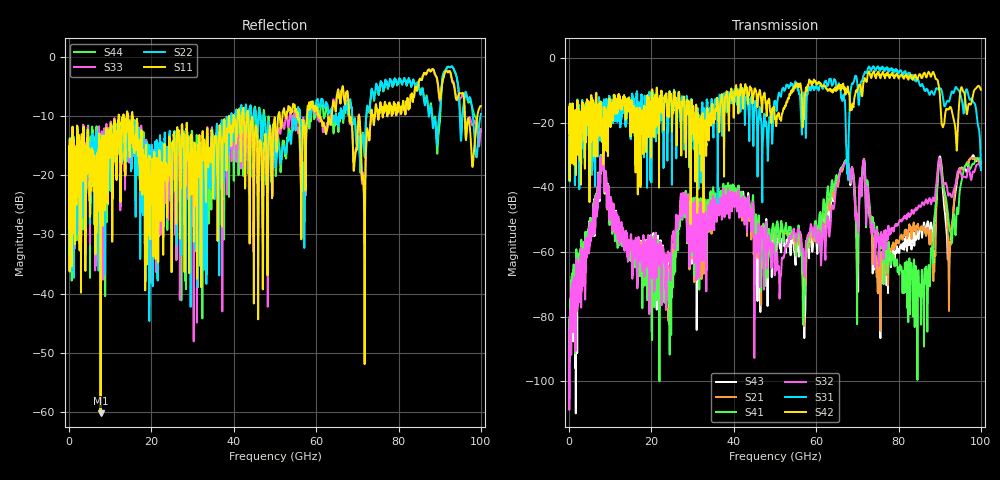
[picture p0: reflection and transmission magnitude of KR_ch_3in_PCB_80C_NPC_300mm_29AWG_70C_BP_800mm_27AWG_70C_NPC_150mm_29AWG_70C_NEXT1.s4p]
# Hz S RI R 45
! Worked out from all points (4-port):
!   4000 points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, 25 MHz to 100 GHz, reference 45 ohm
!   strongest paths, dB at 25 MHz, 25.02 GHz, 50.02 GHz, 75.03 GHz, 100 GHz:
!     S42: -20.7, -20.7, -18.8, -4.2, -9.7
!     S31: -20.6, -19.7, -13.5, -2.5, -34.6
!     S32: -90.4, -55.2, -64.6, -55.6, -34.2
!     S41: -89.2, -63.7, -60.2, -54.7, -31.9
!     S21: -90.2, -60.3, -57.9, -71.2, -32.8
!     S43: -91.7, -58.7, -58.7, -70.3, -32.2
!   lowest |S11| = -60.2 dB at 7.65 GHz (marker M1), VSWR 1.00, Z = 45.1 - j0.00565 ohm
!   |S11| at or under -10 dB: start of sweep to 12.07 GHz; 15.37 GHz to 38.82 GHz (23.45 GHz wide, 86.6 % of centre); 43.49 GHz to 50.79 GHz (7.306 GHz wide, 15.5 % of centre)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
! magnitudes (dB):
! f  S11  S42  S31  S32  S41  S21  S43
! 25 MHz  -16.4  -20.7  -20.6  -90.4  -89.2  -90.2  -91.7
! 7.65 GHz  -60.2  -16.3  -20.7  -35.4  -34.7  -34.4  -35.7
! 24.3 GHz  -13.9  -12.7  -11.5  -61.2  -70.4  -82.3  -74.3
! 57.05 GHz  -11.7  -17.2  -10.5  -64.2  -76.9  -76.4  -82.0
! 67.25 GHz  -6.1  -10.0  -25.2  -32.2  -31.6  -31.7  -31.7
! 85.05 GHz  -3.9  -5.0  -7.8  -45.7  -73.3  -52.9  -53.4
! 100 GHz  -8.3  -9.7  -34.6  -34.2  -31.9  -32.8  -32.2
